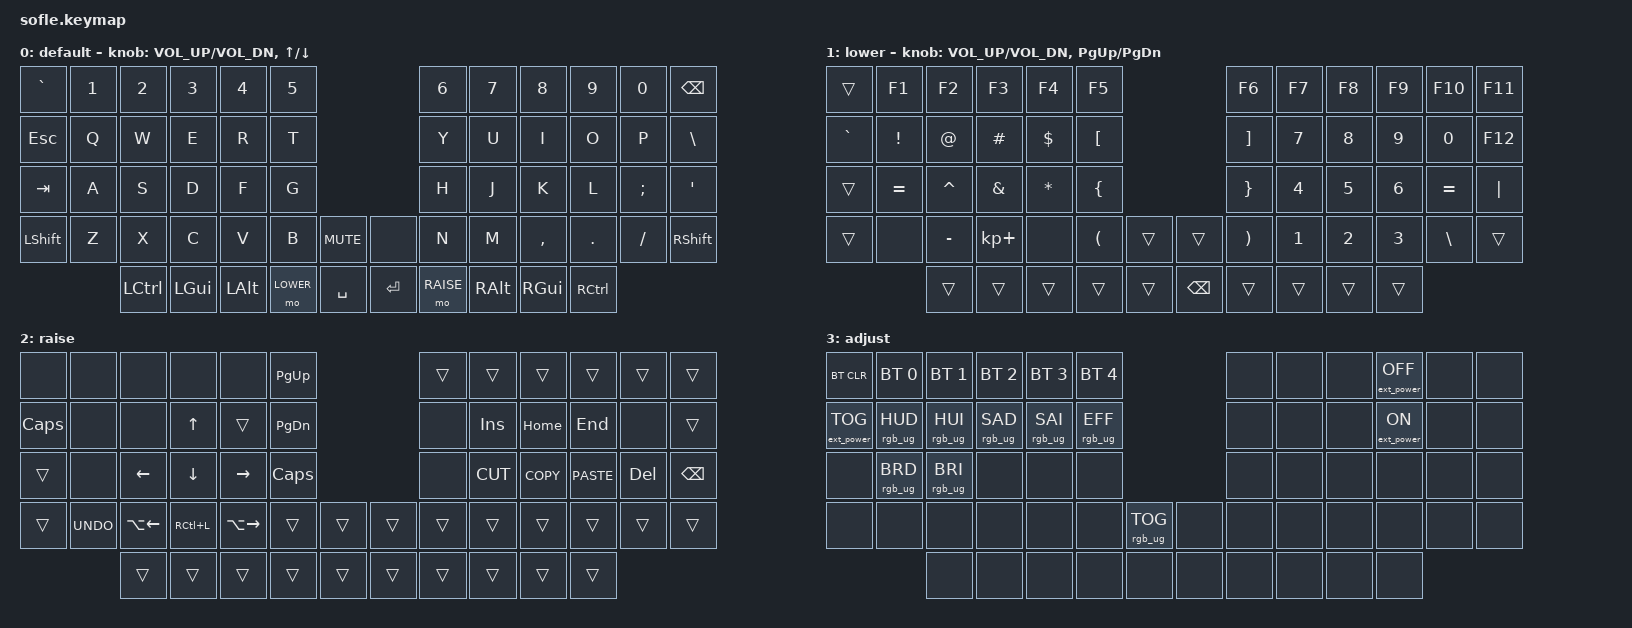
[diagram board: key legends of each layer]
/*
 * Copyright (c) 2020 The ZMK Contributors
 *
 * SPDX-License-Identifier: MIT
 */

#include <behaviors.dtsi>
#include <dt-bindings/zmk/bt.h>
#include <dt-bindings/zmk/ext_power.h>
#include <dt-bindings/zmk/keys.h>
#include <dt-bindings/zmk/rgb.h>
#include <dt-bindings/zmk/outputs.h>

#define BASE 0
#define LOWER 1
#define RAISE 2
#define ADJUST 3


/ {
    // Activate ADJUST layer by pressing raise and lower

    conditional_layers {
        compatible = "zmk,conditional-layers";

        adjust_layer {
            if-layers = <LOWER RAISE>;
            then-layer = <ADJUST>;
        };
    };

    keymap {
        compatible = "zmk,keymap";

        default_layer {
            display-name = "default";

            // ------------------------------------------------------------------------------------------------------------
            // |   `   |  1  |  2  |  3   |  4   |  5   |                   |  6   |  7    |  8    |  9   |   0   | BKSPC |
            // |  ESC  |  Q  |  W  |  E   |  R   |  T   |                   |  Y   |  U    |  I    |  O   |   P   |   |   |
            // |  TAB  |  A  |  S  |  D   |  F   |  G   |                   |  H   |  J    |  K    |  L   |   ;   |   '   |
            // | SHIFT |  Z  |  X  |  C   |  V   |  B   |  MUTE  |  |       |  N   |  M    |  ,    |  .   |   /   | SHIFT |
            //               | GUI | ALT  | CTRL | LOWER|  SPACE |  | ENTER | RAISE| CTRL  | ALT   | GUI  |

            bindings = <
&kp GRAVE  &kp N1  &kp N2     &kp N3    &kp N4    &kp N5                            &kp N6     &kp N7    &kp N8     &kp N9     &kp N0    &kp BSPC
&kp ESC    &kp Q   &kp W      &kp E     &kp R     &kp T                             &kp Y      &kp U     &kp I      &kp O      &kp P     &kp BSLH
&kp TAB    &kp A   &kp S      &kp D     &kp F     &kp G                             &kp H      &kp J     &kp K      &kp L      &kp SEMI  &kp SQT
&kp LSHFT  &kp Z   &kp X      &kp C     &kp V     &kp B      &kp C_MUTE    &none    &kp N      &kp M     &kp COMMA  &kp DOT    &kp FSLH  &kp RSHFT
                   &kp LCTRL  &kp LGUI  &kp LALT  &mo LOWER  &kp SPACE     &kp RET  &mo RAISE  &kp RALT  &kp RGUI   &kp RCTRL
            >;

            sensor-bindings = <&inc_dec_kp C_VOL_UP C_VOL_DN &inc_dec_kp UP DOWN>;
        };

        lower_layer {
            display-name = "lower";

            // TODO: Some binds are waiting for shifted keycode support.
            // ------------------------------------------------------------------------------------------------------------
            // |       |  F1 |  F2 |  F3  |  F4  |  F5  |                   |  F6  |  F7   |  F8   |  F9  |  F10  |  F11  |
            // |   `   |  !  |  2  |  3   |  #   |  [   |                   |  ]   |  7    |  8    |  9   |   0   |  F12  |
            // |       |  =  |  @  |  #   |  &   |  {   |                   |  }   |  4    |  5    |  6   |   =   |   |   |
            // |       |     |  -  |  +   |      |  (   |        |  |       |  )   |  1    |  2    |  3   |   \   |       |
            //               |     |      |      |      |        |  |  BKSP |      |       |       |      |

            bindings = <
&trans     &kp F1     &kp F2       &kp F3       &kp F4        &kp F5                              &kp F6             &kp F7  &kp F8  &kp F9  &kp F10    &kp F11
&kp GRAVE  &kp EXCL   &kp AT_SIGN  &kp HASH     &kp DOLLAR    &kp LBKT                            &kp RIGHT_BRACKET  &kp N7  &kp N8  &kp N9  &kp N0     &kp F12
&trans     &kp EQUAL  &kp CARET    &kp AMPS     &kp ASTERISK  &kp LEFT_BRACE                      &kp RIGHT_BRACE    &kp N4  &kp N5  &kp N6  &kp EQUAL  &kp PIPE
&trans     &none      &kp MINUS    &kp KP_PLUS  &none         &kp LPAR        &trans    &trans    &kp RPAR           &kp N1  &kp N2  &kp N3  &kp BSLH   &trans
                      &trans       &trans       &trans        &trans          &trans    &kp BSPC  &trans             &trans  &trans  &trans
            >;

            sensor-bindings = <&inc_dec_kp C_VOL_UP C_VOL_DN &inc_dec_kp PG_UP PG_DN>;
        };

        raise_layer {
            display-name = "raise";

            // ------------------------------------------------------------------------------------------------------------
            // |       |      |      |       |       | PGUP |                |      |      |       |      |       |       |
            // | CAPS  |      |      |  UP   |       | PGDN |                |      |  INS | HOME  | END  |       |       |
            // |       |      | LEFT | DOWN  | RIGHT | CAPS |                |      |  CUT | COPY  |PASTE |  DEL  | BKSPC |
            // |       | UNDO |LA(LT)| RC(L) | LA(RT)|      |      |  |      |      |      |       |      |       |       |
            //                |      |       |       |      |      |  |      |      |      |       |      |

            bindings = <
&none     &none       &none         &none      &none          &kp PG_UP                    &trans  &trans     &trans      &trans       &trans   &trans
&kp CAPS  &none       &none         &kp UP     &trans         &kp PG_DN                    &none   &kp INS    &kp HOME    &kp END      &none    &trans
&trans    &none       &kp LEFT      &kp DOWN   &kp RIGHT      &kp CLCK                     &none   &kp K_CUT  &kp K_COPY  &kp K_PASTE  &kp DEL  &kp BSPC
&trans    &kp K_UNDO  &kp LA(LEFT)  &kp RC(L)  &kp LA(RIGHT)  &trans     &trans    &trans  &trans  &trans     &trans      &trans       &trans   &trans
                      &trans        &trans     &trans         &trans     &trans    &trans  &trans  &trans     &trans      &trans
            >;
        };

        adjust_layer {
            // ----------------------------------------------------------------------------------------------------------------------------
            // | BTCLR  |  BT1    |  BT2    |   BT3   |   BT4   |   BT5   |                  |      |      |       |EXTOFF|       |       |
            // | EXTPWR | RGB_HUD | RGB_HUI | RGB_SAD | RGB_SAI | RGB_EFF |                  |      |      |       |EXTON |       |       |
            // |        | RGB_BRD | RGB_BRI |         |         |         |                  |      |      |       |      |       |       |
            // |        |         |         |         |         |         | RGB_TOG | |      |      |      |       |      |       |       |
            //                    |         |         |         |         |         | |      |      |      |       |      |

            display-name = "adjust";
            bindings = <
&bt BT_CLR         &bt BT_SEL 0     &bt BT_SEL 1     &bt BT_SEL 2     &bt BT_SEL 3     &bt BT_SEL 4                               &none  &none  &none  &ext_power EP_OFF  &none  &none
&ext_power EP_TOG  &rgb_ug RGB_HUD  &rgb_ug RGB_HUI  &rgb_ug RGB_SAD  &rgb_ug RGB_SAI  &rgb_ug RGB_EFF                            &none  &none  &none  &ext_power EP_ON   &none  &none
&none              &rgb_ug RGB_BRD  &rgb_ug RGB_BRI  &none            &none            &none                                      &none  &none  &none  &none              &none  &none
&none              &none            &none            &none            &none            &none            &rgb_ug RGB_TOG    &none  &none  &none  &none  &none              &none  &none
                                    &none            &none            &none            &none            &none              &none  &none  &none  &none  &none
            >;
        };
    };
};
